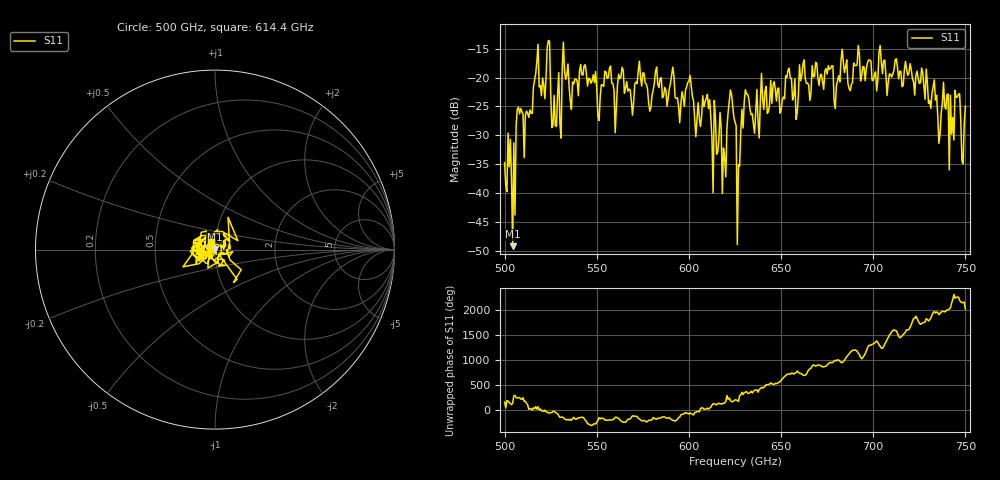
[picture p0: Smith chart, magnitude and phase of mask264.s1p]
!Created with skrf (http://scikit-rf.org).
# GHz S MA R 50.0
!freq magS11 angS11
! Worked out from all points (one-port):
!   401 points, 500 GHz to 750 GHz, reference 50 ohm
!   lowest |S11| = -49.2 dB at 504.4 GHz (marker M1), VSWR 1.01, Z = 49.7 + j0.214 ohm
!   |S11| at or under -10 dB: start of sweep to end of sweep
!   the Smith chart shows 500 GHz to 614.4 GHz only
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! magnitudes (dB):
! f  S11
! 500 GHz  -34.8
! 504.4 GHz  -49.2
! 507.5 GHz  -25.1
! 511.9 GHz  -25.8
! 516.9 GHz  -19.3
! 520.6 GHz  -20.1
! 523.8 GHz  -13.6
! 526.9 GHz  -23.1
! 531.2 GHz  -18.5
! 562.5 GHz  -20.2
! 593.8 GHz  -23.5
! 610 GHz  -22.9
! 618.8 GHz  -32.2
! 622.5 GHz  -22.1
! 625 GHz  -27.7
! 627.5 GHz  -35.3
! 631.2 GHz  -22.8
! 635 GHz  -28.1
! 656.2 GHz  -23.9
! 680 GHz  -21.5
! 684.4 GHz  -19.1
! 687.5 GHz  -22.3
! 691.2 GHz  -17.8
! 718.8 GHz  -19.6
! 736.2 GHz  -29.8
! 742.5 GHz  -29.8
! 745.6 GHz  -23.4
! 750 GHz  -24.9
